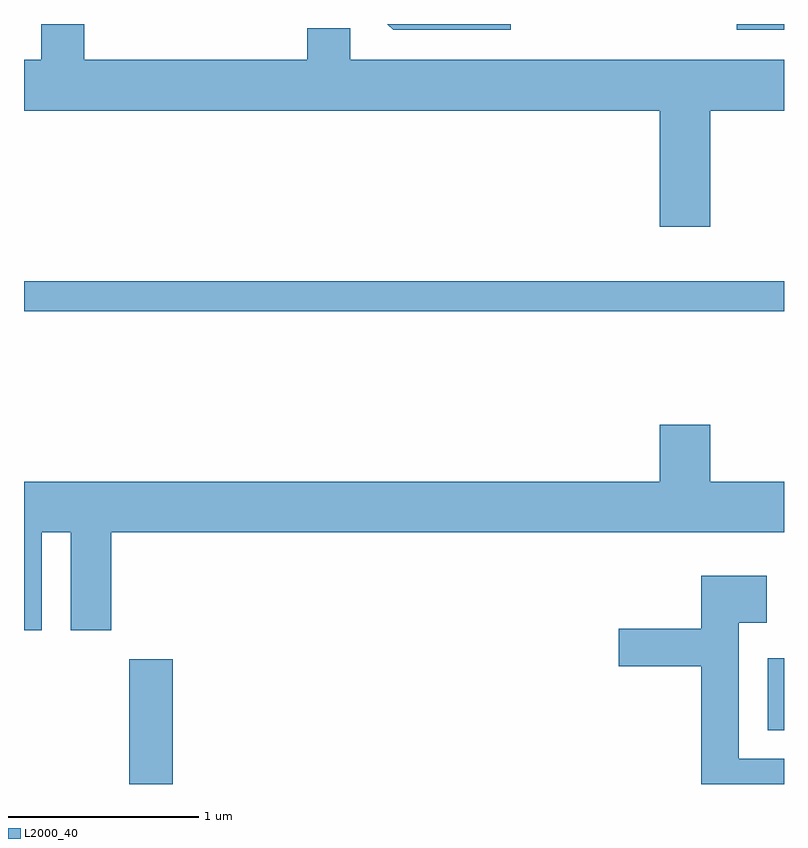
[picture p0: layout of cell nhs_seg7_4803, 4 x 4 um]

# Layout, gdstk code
import gdstk
lib = gdstk.Library(unit=1e-6, precision=1e-09)
def R(c, l, rs):  # rectangles x0, y0, x1, y1
    for r in rs: c.add(gdstk.rectangle(r[:2], r[2:], *l))
def P(c, l, *ps):  # polygons
    for p in ps: c.add(gdstk.Polygon(p, *l))
L2000_40 = (2000, 40)

nhs_seg7_4803 = lib.new_cell('nhs_seg7_4803')
R(nhs_seg7_4803, L2000_40, [(332.166,1786.252,332.394,1786.909), (335.526,1786.536,335.611,1786.914), (331.611,1788.741,335.611,1788.899), (335.363,1790.221,335.611,1790.252)])
P(nhs_seg7_4803, L2000_40, [(335.224,1789.796),(335.611,1789.796),(335.611,1790.064),(333.329,1790.064),(333.329,1790.229),(333.101,1790.229),(333.101,1790.064),(331.929,1790.064),(331.929,1790.252),(331.701,1790.252),(331.701,1790.064),(331.611,1790.064),(331.611,1789.796),(334.956,1789.796),(334.956,1789.186),(335.224,1789.186)],
  [(334.174,1790.252),(333.523,1790.252),(333.554,1790.221),(334.174,1790.221)],
  [(331.704,1787.576),(331.856,1787.576),(331.856,1787.061),(332.069,1787.061),(332.069,1787.576),(335.611,1787.576),(335.611,1787.844),(335.224,1787.844),(335.224,1788.144),(334.956,1788.144),(334.956,1787.844),(331.611,1787.844),(331.611,1787.061),(331.704,1787.061)],
  [(335.611,1786.384),(335.374,1786.384),(335.374,1787.101),(335.519,1787.101),(335.519,1787.349),(335.176,1787.349),(335.176,1787.069),(334.741,1787.069),(334.741,1786.871),(335.176,1786.871),(335.176,1786.252),(335.611,1786.252)])

lib.write_gds('nhs_seg7_4803.gds')
